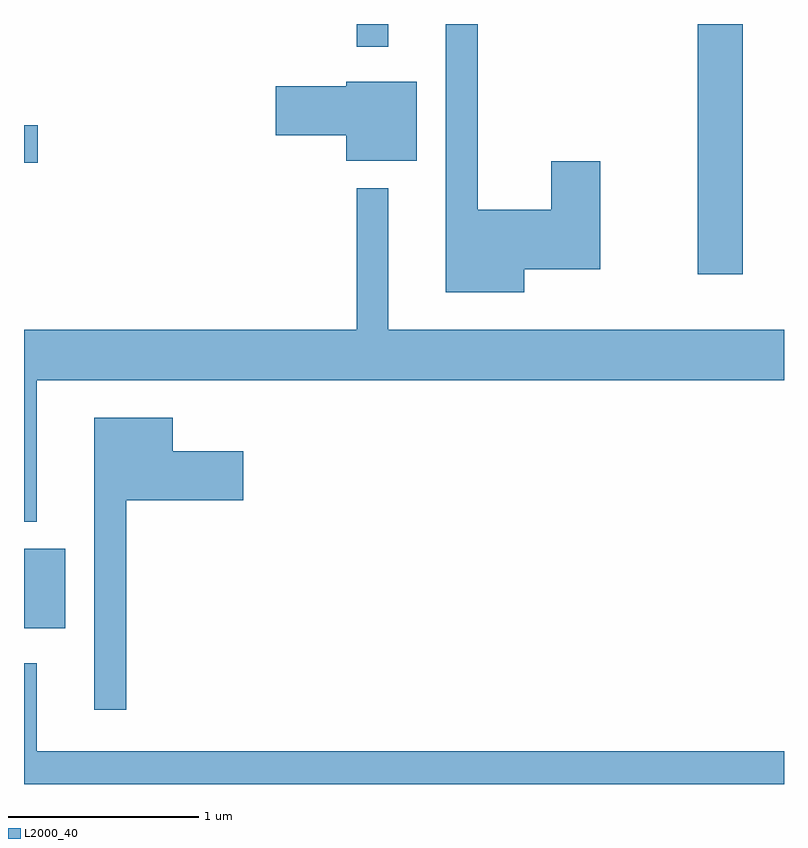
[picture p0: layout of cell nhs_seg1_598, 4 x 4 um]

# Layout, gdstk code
import gdstk
lib = gdstk.Library(unit=1e-6, precision=1e-09)
def R(c, l, rs):  # rectangles x0, y0, x1, y1
    for r in rs: c.add(gdstk.rectangle(r[:2], r[2:], *l))
def P(c, l, *ps):  # polygons
    for p in ps: c.add(gdstk.Polygon(p, *l))
L2000_40 = (2000, 40)

nhs_seg1_598 = lib.new_cell('nhs_seg1_598')
R(nhs_seg1_598, L2000_40, [(203.611,860.531,203.829,860.949), (207.156,862.396,207.394,863.712), (203.611,862.981,203.684,863.179), (205.361,863.593,205.529,863.712)])
P(nhs_seg1_598, L2000_40, [(206.244,862.421),(206.644,862.421),(206.644,862.989),(206.386,862.989),(206.386,862.734),(205.999,862.734),(205.999,863.712),(205.831,863.712),(205.831,862.301),(206.244,862.301)],
  [(205.679,863.409),(205.306,863.409),(205.306,863.384),(204.936,863.384),(204.936,863.126),(205.306,863.126),(205.306,862.991),(205.679,862.991)],
  [(203.679,861.836),(207.611,861.836),(207.611,862.104),(205.529,862.104),(205.529,862.848),(205.361,862.848),(205.361,862.104),(203.611,862.104),(203.611,861.093),(203.679,861.093)],
  [(204.149,861.206),(204.764,861.206),(204.764,861.464),(204.394,861.464),(204.394,861.639),(203.981,861.639),(203.981,860.103),(204.149,860.103)],
  [(207.611,859.884),(203.679,859.884),(203.679,860.348),(203.611,860.348),(203.611,859.712),(207.611,859.712)])

lib.write_gds('nhs_seg1_598.gds')
